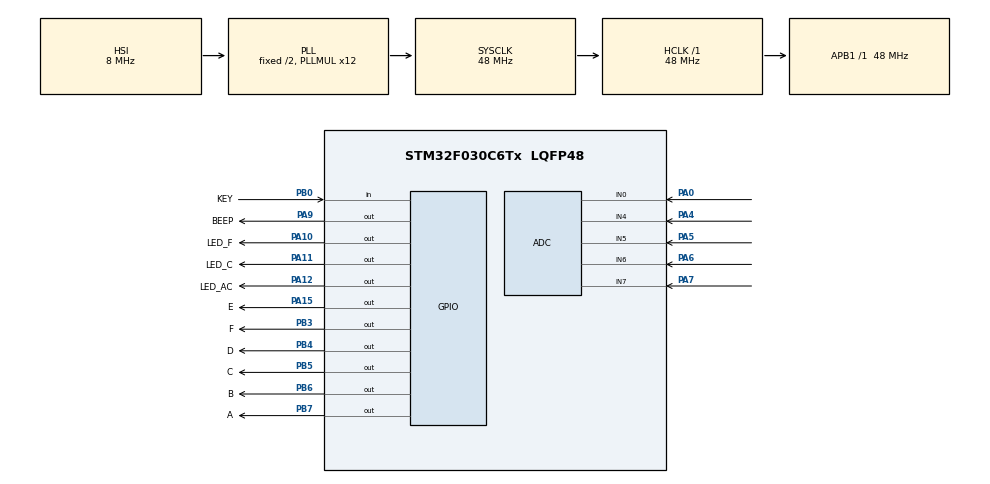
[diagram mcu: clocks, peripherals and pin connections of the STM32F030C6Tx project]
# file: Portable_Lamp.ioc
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ADC.ContinuousConvMode=DISABLE
ADC.EOCSelection=ADC_EOC_SEQ_CONV
ADC.SamplingTime=ADC_SAMPLETIME_55CYCLES_5
Dma.ADC.0.Direction=DMA_PERIPH_TO_MEMORY
Dma.ADC.0.Instance=DMA1_Channel1
Dma.ADC.0.MemDataAlignment=DMA_MDATAALIGN_WORD
Dma.ADC.0.MemInc=DMA_MINC_ENABLE
Dma.ADC.0.Mode=DMA_NORMAL
Dma.ADC.0.PeriphDataAlignment=DMA_PDATAALIGN_WORD
Dma.ADC.0.PeriphInc=DMA_PINC_DISABLE
Dma.ADC.0.Priority=DMA_PRIORITY_LOW
Dma.Request0=ADC
Mcu.Family=STM32F0
Mcu.Name=STM32F030C6Tx
Mcu.Package=LQFP48
NVIC.DMA1_Channel1_IRQn=true\:0\:0\:false\:false\:true\:false\:true\:true
NVIC.TIM14_IRQn=true\:0\:0\:false\:false\:true\:true\:true\:true
PA0.Mode=IN0
PA0.Signal=ADC_IN0
PA10.GPIO_Label=LED_F
PA10.GPIO_PuPd=GPIO_PULLUP
PA10.PinState=GPIO_PIN_SET
PA10.Signal=GPIO_Output
PA11.GPIO_Label=LED_C
PA11.GPIO_PuPd=GPIO_PULLUP
PA11.PinState=GPIO_PIN_SET
PA11.Signal=GPIO_Output
PA12.GPIO_Label=LED_AC
PA12.GPIO_PuPd=GPIO_PULLUP
PA12.PinState=GPIO_PIN_SET
PA12.Signal=GPIO_Output
PA13.Mode=Serial_Wire
PA13.Signal=SYS_SWDIO
PA14.Mode=Serial_Wire
PA14.Signal=SYS_SWCLK
PA15.GPIO_Label=E
PA15.GPIO_Speed=GPIO_SPEED_FREQ_HIGH
PA15.PinState=GPIO_PIN_SET
PA15.Signal=GPIO_Output
PA4.Mode=IN4
PA4.Signal=ADC_IN4
PA5.Mode=IN5
PA5.Signal=ADC_IN5
PA6.Mode=IN6
PA6.Signal=ADC_IN6
PA7.Mode=IN7
PA7.Signal=ADC_IN7
PA9.GPIO_Label=BEEP
PA9.GPIO_PuPd=GPIO_PULLDOWN
PA9.GPIO_Speed=GPIO_SPEED_FREQ_HIGH
PA9.Signal=GPIO_Output
PB0.GPIO_Label=KEY
PB0.GPIO_PuPd=GPIO_PULLUP
PB0.Signal=GPIO_Input
PB3.GPIO_Label=F
PB3.GPIO_Speed=GPIO_SPEED_FREQ_HIGH
PB3.PinState=GPIO_PIN_SET
PB3.Signal=GPIO_Output
PB4.GPIO_Label=D
PB4.GPIO_Speed=GPIO_SPEED_FREQ_HIGH
PB4.PinState=GPIO_PIN_SET
PB4.Signal=GPIO_Output
PB5.GPIO_Label=C
PB5.GPIO_Speed=GPIO_SPEED_FREQ_HIGH
PB5.PinState=GPIO_PIN_SET
PB5.Signal=GPIO_Output
PB6.GPIO_Label=B
PB6.GPIO_Speed=GPIO_SPEED_FREQ_HIGH
PB6.PinState=GPIO_PIN_SET
PB6.Signal=GPIO_Output
PB7.GPIO_Label=A
PB7.GPIO_Speed=GPIO_SPEED_FREQ_HIGH
PB7.PinState=GPIO_PIN_SET
PB7.Signal=GPIO_Output
ProjectManager.HeapSize=0x200
ProjectManager.StackSize=0x400
ProjectManager.TargetToolchain=MDK-ARM V5.32
RCC.AHBFreq_Value=48000000
RCC.APB1Freq_Value=48000000
RCC.APB1TimFreq_Value=48000000
RCC.HCLKFreq_Value=48000000
RCC.PLLMUL=RCC_PLL_MUL12
RCC.SYSCLKFreq_VALUE=48000000
RCC.SYSCLKSource=RCC_SYSCLKSOURCE_PLLCLK
TIM14.Period=99
TIM14.Prescaler=479
VP_TIM14_VS_ClockSourceINT.Mode=Enable_Timer
board=custom

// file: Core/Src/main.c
/* USER CODE BEGIN Header */
/**
 ******************************************************************************
 * @file           : main.c
 * @brief          : Main program body
 ******************************************************************************
 * @attention
 *
 * Copyright (c) 2025 STMicroelectronics.
 * All rights reserved.
 *
 * This software is licensed under terms that can be found in the LICENSE file
 * in the root directory of this software component.
 * If no LICENSE file comes with this software, it is provided AS-IS.
 *
 ******************************************************************************
 */
/* USER CODE END Header */
#include "main.h"
#include "adc.h"
#include "dma.h"
#include "tim.h"
#include "gpio.h"

/* USER CODE BEGIN PV */
//#define DEBUG_ENABLED

#ifdef DEBUG_ENABLED
#define DEBUG 1
#else
#define DEBUG 0
#endif
/* USER CODE END PV */

void SystemClock_Config(void);
/* USER CODE BEGIN PFP */
void battery_show(void);
void beep_func(void);
void adc_func(void);
void key_func(void);
/* USER CODE END PFP */

/* USER CODE BEGIN 0 */
#define ADC_BUFFER_SIZE 5
uint32_t adcBuffer[ADC_BUFFER_SIZE];

float record_mV; // 记录USP电源亏电报警时的电池电压
uint8_t beep_on;
uint8_t beep_15s_ok;
uint8_t beep_unlock; // 按键接触警报

uint8_t tim1_1s;
uint16_t tim1_count;
typedef struct
{
	float Battery;
	float RED;
	float YELLOW;
	float BLUE;
	float GREEN;
} mVolt;
mVolt mV;
/* USER CODE END 0 */

int main(void)
{

  /* MCU Configuration--------------------------------------------------------*/

  /* Reset of all peripherals, Initializes the Flash interface and the Systick. */
  HAL_Init();

  /* Configure the system clock */
  SystemClock_Config();

  /* Initialize all configured peripherals */
  MX_GPIO_Init();
  MX_DMA_Init();
  MX_ADC_Init();
  MX_TIM14_Init();
  /* USER CODE BEGIN 2 */
	HAL_ADCEx_Calibration_Start(&hadc);
	HAL_ADC_Start_DMA(&hadc, adcBuffer, ADC_BUFFER_SIZE);
	HAL_GPIO_WritePin(A_GPIO_Port, A_Pin, GPIO_PIN_RESET);
  /* USER CODE END 2 */

  /* Infinite loop */
  /* USER CODE BEGIN WHILE */
	HAL_Delay(200);
	while (1)
	{
    /* USER CODE END WHILE */

    /* USER CODE BEGIN 3 */
		adc_func();
		key_func();
		battery_show();
		beep_func();
	}
  /* USER CODE END 3 */
}

void SystemClock_Config(void)
{
  RCC_OscInitTypeDef RCC_OscInitStruct = {0};
  RCC_ClkInitTypeDef RCC_ClkInitStruct = {0};

  /** Initializes the RCC Oscillators according to the specified parameters
  * in the RCC_OscInitTypeDef structure.
  */
  RCC_OscInitStruct.OscillatorType = RCC_OSCILLATORTYPE_HSI|RCC_OSCILLATORTYPE_HSI14;
  RCC_OscInitStruct.HSIState = RCC_HSI_ON;
  RCC_OscInitStruct.HSI14State = RCC_HSI14_ON;
  RCC_OscInitStruct.HSICalibrationValue = RCC_HSICALIBRATION_DEFAULT;
  RCC_OscInitStruct.HSI14CalibrationValue = 16;
  RCC_OscInitStruct.PLL.PLLState = RCC_PLL_ON;
  RCC_OscInitStruct.PLL.PLLSource = RCC_PLLSOURCE_HSI;
  RCC_OscInitStruct.PLL.PLLMUL = RCC_PLL_MUL12;
  RCC_OscInitStruct.PLL.PREDIV = RCC_PREDIV_DIV1;
  if (HAL_RCC_OscConfig(&RCC_OscInitStruct) != HAL_OK)
  {
    Error_Handler();
  }

  /** Initializes the CPU, AHB and APB buses clocks
  */
  RCC_ClkInitStruct.ClockType = RCC_CLOCKTYPE_HCLK|RCC_CLOCKTYPE_SYSCLK
                              |RCC_CLOCKTYPE_PCLK1;
  RCC_ClkInitStruct.SYSCLKSource = RCC_SYSCLKSOURCE_PLLCLK;
  RCC_ClkInitStruct.AHBCLKDivider = RCC_SYSCLK_DIV1;
  RCC_ClkInitStruct.APB1CLKDivider = RCC_HCLK_DIV1;

  if (HAL_RCC_ClockConfig(&RCC_ClkInitStruct, FLASH_LATENCY_1) != HAL_OK)
  {
    Error_Handler();
  }
}

/* USER CODE BEGIN 4 */
void key_func(void)
{
	if (HAL_GPIO_ReadPin(KEY_GPIO_Port, KEY_Pin) == GPIO_PIN_RESET)
	{
		HAL_Delay(10);
		if (HAL_GPIO_ReadPin(KEY_GPIO_Port, KEY_Pin) == GPIO_PIN_RESET)
		{
			beep_unlock = 1;
			beep_on = 0;
		}
	}
}
void battery_show(void)
{
	if (mV.Battery >= 24.60) // 80%
	{
		HAL_GPIO_WritePin(B_GPIO_Port, B_Pin, GPIO_PIN_RESET);
		HAL_GPIO_WritePin(C_GPIO_Port, C_Pin, GPIO_PIN_RESET);
		HAL_GPIO_WritePin(D_GPIO_Port, D_Pin, GPIO_PIN_RESET);
		HAL_GPIO_WritePin(E_GPIO_Port, E_Pin, GPIO_PIN_RESET);
		HAL_GPIO_WritePin(F_GPIO_Port, F_Pin, GPIO_PIN_RESET);
		beep_unlock = 0;
		beep_on = 0;
	}
	else if (mV.Battery >= 24.12) // 60%
	{
		HAL_GPIO_WritePin(B_GPIO_Port, B_Pin, GPIO_PIN_RESET);
		HAL_GPIO_WritePin(C_GPIO_Port, C_Pin, GPIO_PIN_RESET);
		HAL_GPIO_WritePin(D_GPIO_Port, D_Pin, GPIO_PIN_RESET);
		HAL_GPIO_WritePin(E_GPIO_Port, E_Pin, GPIO_PIN_RESET);
		HAL_GPIO_WritePin(F_GPIO_Port, F_Pin, GPIO_PIN_SET);
		beep_on = 0;
	}
	else if (mV.Battery >= 23.52) // 40%
	{
		HAL_GPIO_WritePin(B_GPIO_Port, B_Pin, GPIO_PIN_RESET);
		HAL_GPIO_WritePin(C_GPIO_Port, C_Pin, GPIO_PIN_RESET);
		HAL_GPIO_WritePin(D_GPIO_Port, D_Pin, GPIO_PIN_RESET);
		HAL_GPIO_WritePin(E_GPIO_Port, E_Pin, GPIO_PIN_SET);
		HAL_GPIO_WritePin(F_GPIO_Port, F_Pin, GPIO_PIN_SET);
		beep_on = 0;
	}
	else if (mV.Battery >= 22.92) // 20%
	{
		HAL_GPIO_WritePin(B_GPIO_Port, B_Pin, GPIO_PIN_RESET);
		HAL_GPIO_WritePin(C_GPIO_Port, C_Pin, GPIO_PIN_RESET);
		HAL_GPIO_WritePin(D_GPIO_Port, D_Pin, GPIO_PIN_SET);
		HAL_GPIO_WritePin(E_GPIO_Port, E_Pin, GPIO_PIN_SET);
		HAL_GPIO_WritePin(F_GPIO_Port, F_Pin, GPIO_PIN_SET);
		beep_on = 0;
	}
#if DEBUG
	else if (mV.Battery >= 0) // 10%
#else
	else if (mV.Battery >= 22.20) // 10%
#endif
	{
		HAL_GPIO_WritePin(B_GPIO_Port, B_Pin, GPIO_PIN_RESET);
		HAL_GPIO_WritePin(C_GPIO_Port, C_Pin, GPIO_PIN_SET);
		HAL_GPIO_WritePin(D_GPIO_Port, D_Pin, GPIO_PIN_SET);
		HAL_GPIO_WritePin(E_GPIO_Port, E_Pin, GPIO_PIN_SET);
		HAL_GPIO_WritePin(F_GPIO_Port, F_Pin, GPIO_PIN_SET);
//#if DEBUG
//#else
//		if (mV.GREEN < 1.5f)
//#endif
//		{
//			if (beep_unlock == 0)
//			{
//				beep_on = 1;
//			}
//		}
	}
	else
	{
		HAL_GPIO_WritePin(B_GPIO_Port, B_Pin, GPIO_PIN_SET);
		HAL_GPIO_WritePin(C_GPIO_Port, C_Pin, GPIO_PIN_SET);
		HAL_GPIO_WritePin(D_GPIO_Port, D_Pin, GPIO_PIN_SET);
		HAL_GPIO_WritePin(E_GPIO_Port, E_Pin, GPIO_PIN_SET);
		HAL_GPIO_WritePin(F_GPIO_Port, F_Pin, GPIO_PIN_SET);
#if DEBUG
#else
		if (mV.GREEN < 1.5f)
#endif
		{
			if (beep_unlock == 0)
			{
				beep_on = 1;
			}
		}
	}
}

void beep_func(void)
{
	if (beep_on == 1) // 需要蜂鸣器响
	{
		HAL_TIM_Base_Start_IT(&htim14);
	}
	else
	{
		HAL_TIM_Base_Stop_IT(&htim14);
		tim1_1s = 0;
		tim1_count = 0;
	}
	if (beep_15s_ok == 1)
	{
		HAL_GPIO_WritePin(BEEP_GPIO_Port, BEEP_Pin, GPIO_PIN_SET);
		HAL_Delay(400);
		HAL_GPIO_WritePin(BEEP_GPIO_Port, BEEP_Pin, GPIO_PIN_RESET);
		HAL_Delay(400);
		HAL_GPIO_WritePin(BEEP_GPIO_Port, BEEP_Pin, GPIO_PIN_SET);
		HAL_Delay(400);
		HAL_GPIO_WritePin(BEEP_GPIO_Port, BEEP_Pin, GPIO_PIN_RESET);
		beep_15s_ok = 0;
	}
}
void adc_func(void)
{
	mV.Battery = (float)adcBuffer[0] / 4095.0f * 3.3f * (100.0f + 12.1f) / 12.1f ;
	mV.RED = (float)adcBuffer[1] / 4095.0f * 3.3f;	  // 电池工作
	mV.YELLOW = (float)adcBuffer[2] / 4095.0f * 3.3f; // 电池亏电
	mV.BLUE = (float)adcBuffer[3] / 4095.0f * 3.3f;	  // 电池充电中
	mV.GREEN = (float)adcBuffer[4] / 4095.0f * 3.3f;  // 交流电工作
	HAL_ADC_Start_DMA(&hadc, adcBuffer, ADC_BUFFER_SIZE);

	if (mV.GREEN > 1.5f)
	{
		HAL_GPIO_WritePin(LED_AC_GPIO_Port, LED_AC_Pin, GPIO_PIN_RESET); // AC指示灯亮

		if (mV.Battery > 20)
		{
			if (mV.BLUE < 0.05f) //!!!!!!!!!!!!!!!!!!! 这里需要改  !!!!!!!!!!!!!!!!!!!!!!!!
			{
				HAL_GPIO_WritePin(LED_C_GPIO_Port, LED_C_Pin, GPIO_PIN_SET);   // 充电指示灯灭
				HAL_GPIO_WritePin(LED_F_GPIO_Port, LED_F_Pin, GPIO_PIN_RESET); // 充满指示灯亮
			}
			else if (mV.BLUE >= 0.05f)
			{
				HAL_GPIO_WritePin(LED_C_GPIO_Port, LED_C_Pin, GPIO_PIN_RESET);   // 充电指示灯亮
				HAL_GPIO_WritePin(LED_F_GPIO_Port, LED_F_Pin, GPIO_PIN_SET); // 充满指示灯灭
			}
		}
	}
	else
	{
		HAL_GPIO_WritePin(LED_AC_GPIO_Port, LED_AC_Pin, GPIO_PIN_SET); // AC指示灯灭
		HAL_GPIO_WritePin(LED_F_GPIO_Port, LED_F_Pin, GPIO_PIN_SET); // 充满指示灯灭
		HAL_GPIO_WritePin(LED_C_GPIO_Port, LED_C_Pin, GPIO_PIN_SET);   // 充电指示灯灭
	}

	if (mV.YELLOW > 1.5f)
	{
		record_mV = mV.Battery; // 记录USP电源亏电报警时的电池电压
	}
}
void HAL_TIM_PeriodElapsedCallback(TIM_HandleTypeDef *htim)
{

	if (htim == &htim14)
	{
		tim1_count++;
		if (tim1_count >= 1000)
		{
			tim1_count = 0;
			tim1_1s++;
			if (tim1_1s >= 15)
			{
				tim1_1s = 0;
				beep_15s_ok = 1;
			}
		}
	}
}
/* USER CODE END 4 */

void Error_Handler(void)
{
	__disable_irq();
	while (1)
	{
	}
}
